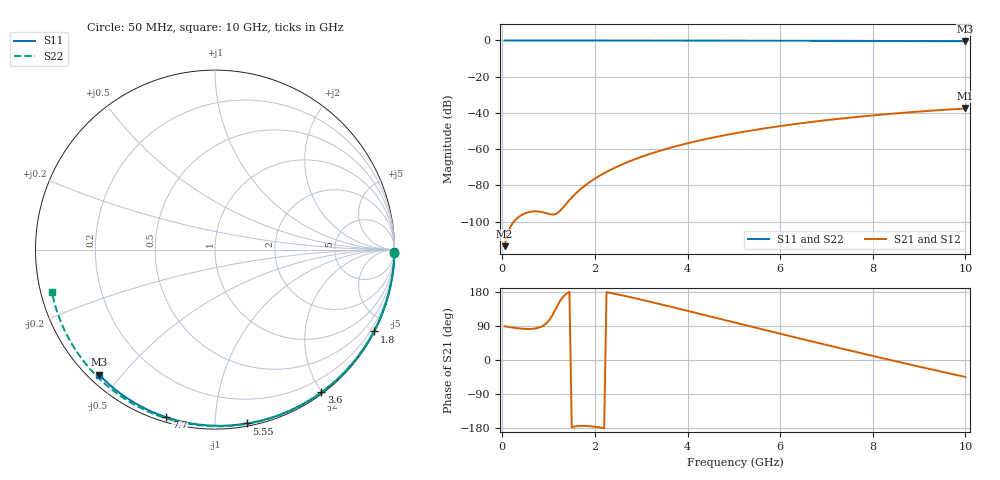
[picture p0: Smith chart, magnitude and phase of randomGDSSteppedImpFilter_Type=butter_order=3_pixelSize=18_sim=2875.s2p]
! freq	dB(S11)	phase(S11)	dB(S12)	phase(S12)
!  dB(S21)	phase(S21)	dB(S22)	phase(S22)
!S-par simulation data
#  GHz  S  DB  R 50
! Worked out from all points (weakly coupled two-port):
!   200 points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, 50 MHz to 10 GHz, reference 50 ohm
!   highest |S21| = -37.55 dB at 10 GHz (marker M1); lowest = -113.6 dB at 50 MHz (marker M2)
!   lowest |S11| = -0.4 dB at 10 GHz (marker M3), VSWR 38.94, Z = 1.53 - j21.8 ohm
!   |S11| at or under -10 dB: nowhere
!   |S22| runs from -0.5 to 0.0 dB; largest |S21 - S12| = 0
!   S11 on the Smith chart (normalised r, x): 50 MHz: open; 1.8 GHz: 0.04, -4.12; 3.6 GHz: 0.02, -1.99; 5.55 GHz: 0.02, -1.20; 7.7 GHz: 0.02, -0.75; 10 GHz: 0.03, -0.44
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0.05  -0.00 -0.8  -113.59 88.9  -113.59 88.9  -0.00 -1.0
0.45  -0.01 -6.9  -95.94 82.4  -95.94 82.4  -0.01 -8.7
0.85  -0.02 -13.0  -94.71 88.4  -94.71 88.4  -0.02 -16.3
1.3  -0.02 -19.8  -92.56 164.9  -92.56 164.9  -0.03 -24.8
1.75  -0.03 -26.5  -80.85 -173.8  -80.85 -173.8  -0.04 -33.1
1.8  -0.03 -27.3  -79.86 -173.9  -79.86 -173.9  -0.04 -34.1
1.95  -0.04 -29.5  -77.13 -175.5  -77.13 -175.5  -0.05 -36.8
2.1  -0.04 -31.7  -74.73 -178.0  -74.73 -178.0  -0.05 -39.6
2.3  -0.04 -34.6  -71.91 177.8  -71.91 177.8  -0.05 -43.2
2.5  -0.05 -37.6  -69.44 172.9  -69.44 172.9  -0.06 -46.8
2.9  -0.06 -43.3  -65.22 162.1  -65.22 162.1  -0.07 -54.0
3.4  -0.07 -50.5  -60.94 147.7  -60.94 147.7  -0.08 -62.7
3.6  -0.07 -53.3  -59.46 141.8  -59.46 141.8  -0.09 -66.2
4.3  -0.09 -62.9  -54.99 120.7  -54.99 120.7  -0.11 -78.0
5.05  -0.11 -73.0  -51.16 97.9  -51.16 97.9  -0.14 -90.2
5.55  -0.13 -79.5  -49.00 82.8  -49.00 82.8  -0.16 -98.1
6.1  -0.15 -86.6  -46.91 66.3  -46.91 66.3  -0.19 -106.7
6.7  -0.18 -94.1  -44.92 48.5  -44.92 48.5  -0.22 -115.8
7.7  -0.24 -106.2  -42.12 19.4  -42.12 19.4  -0.30 -130.7
8.35  -0.29 -113.8  -40.59 0.8  -40.59 0.8  -0.36 -140.4
9.2  -0.36 -123.7  -38.89 -23.0  -38.89 -23.0  -0.45 -153.1
10  -0.45 -132.8  -37.55 -44.8  -37.55 -44.8  -0.54 -165.3
